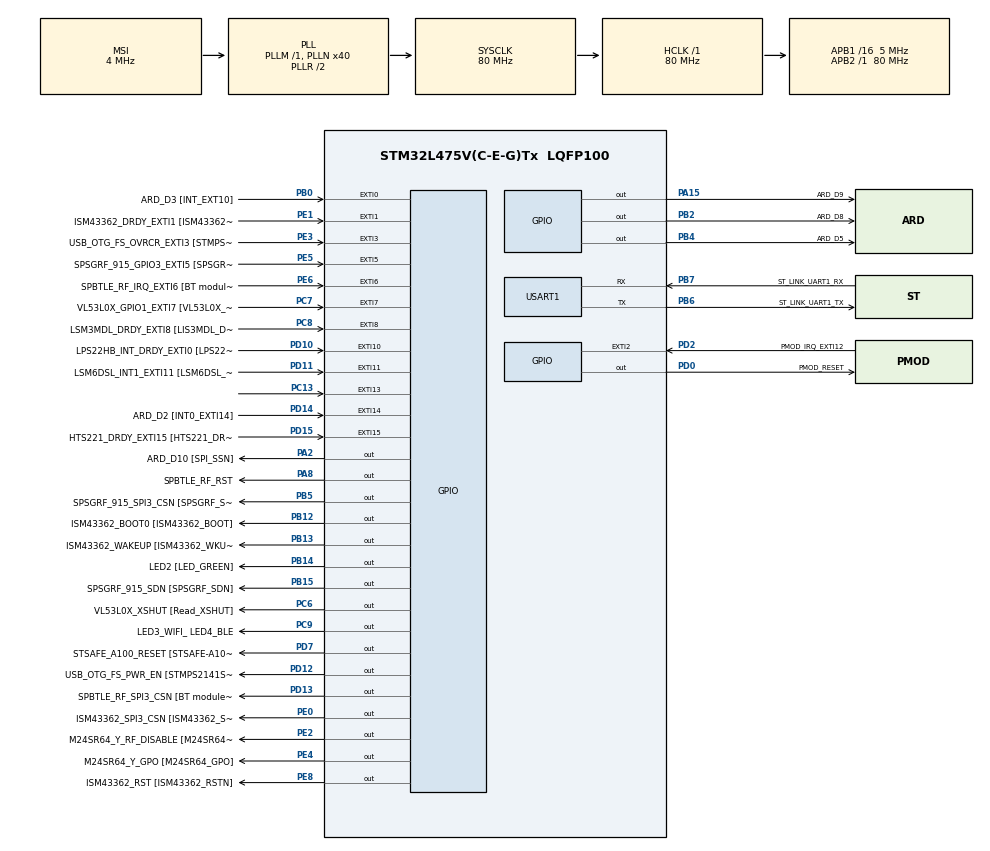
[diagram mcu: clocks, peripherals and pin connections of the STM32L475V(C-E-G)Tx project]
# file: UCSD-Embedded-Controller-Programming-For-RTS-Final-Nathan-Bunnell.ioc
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Mcu.Family=STM32L4
Mcu.Name=STM32L475V(C-E-G)Tx
Mcu.Package=LQFP100
NVIC.EXTI15_10_IRQn=true\:0\:0\:false\:false\:true\:true\:true
NVIC.EXTI9_5_IRQn=true\:0\:0\:false\:false\:true\:true\:true
NVIC.PriorityGroup=NVIC_PRIORITYGROUP_4
NVIC.TIM2_IRQn=true\:0\:0\:false\:false\:true\:true\:true
NVIC.TIM3_IRQn=true\:0\:0\:false\:false\:true\:true\:true
NVIC.USART1_IRQn=true\:0\:0\:false\:false\:true\:true\:true
PA0.GPIO_Label=ARD_D1 [UART4_TX]
PA0.Signal=UART4_TX
PA1.GPIO_Label=ARD_D0 [UART4_RX]
PA1.Signal=UART4_RX
PA10.GPIO_Label=USB_OTG_FS_ID
PA10.Signal=USB_OTG_FS_ID
PA11.GPIO_Label=USB_OTG_FS_DM
PA11.Signal=USB_OTG_FS_DM
PA12.GPIO_Label=USB_OTG_FS_DP
PA12.Signal=USB_OTG_FS_DP
PA13\ (JTMS-SWDIO).GPIO_Label=SYS_JTMS_SWDIO
PA13\ (JTMS-SWDIO).Mode=Serial_Wire
PA13\ (JTMS-SWDIO).Signal=SYS_JTMS-SWDIO
PA14\ (JTCK-SWCLK).GPIO_Label=SYS_JTCK_SWCLK
PA14\ (JTCK-SWCLK).Mode=Serial_Wire
PA14\ (JTCK-SWCLK).Signal=SYS_JTCK-SWCLK
PA15\ (JTDI).GPIO_Label=ARD_D9
PA15\ (JTDI).Signal=GPIO_Output
PA2.GPIO_Label=ARD_D10 [SPI_SSN]
PA2.Signal=GPIO_Output
PA3.GPIO_Label=ARD_D4
PA3.Signal=S_TIM2_CH4
PA4.GPIO_Label=ARD_D7
PA4.Signal=ADCx_IN9
PA5.GPIO_Label=ARD_D13 [SPI1_SCK]
PA5.Signal=SPI1_SCK
PA6.GPIO_Label=ARD_D12 [SPI1_MISO]
PA6.Signal=SPI1_MISO
PA7.GPIO_Label=ARD_D11 [SPI1_MOSI]
PA7.Signal=SPI1_MOSI
PA8.GPIO_Label=SPBTLE_RF_RST
PA8.Signal=GPIO_Output
PA9.GPIO_Label=USB_OTG_FS_VBUS [STMPS2141STR_OUT]
PA9.Signal=USB_OTG_FS_VBUS
PB0.GPIO_Label=ARD_D3 [INT_EXT10]
PB0.Signal=GPXTI0
PB1.GPIO_Label=ARD_D6 [ADC1_IN6]
PB1.Signal=ADCx_IN16
PB10.GPIO_Label=INTERNAL_I2C2_SCL [VL53L0X_SCL]
PB10.GPIO_Pu=GPIO_PULLUP
PB10.Signal=I2C2_SCL
PB11.GPIO_Label=INTERNAL_I2C2_SDA [VL53L0X_SDA]
PB11.GPIO_Pu=GPIO_PULLUP
PB11.Signal=I2C2_SDA
PB12.GPIO_Label=ISM43362_BOOT0 [ISM43362_BOOT]
PB12.Signal=GPIO_Output
PB13.GPIO_Label=ISM43362_WAKEUP [ISM43362_WKUP]
PB13.Signal=GPIO_Output
PB14.GPIO_Label=LED2 [LED_GREEN]
PB14.Signal=GPIO_Output
PB15.GPIO_Label=SPSGRF_915_SDN [SPSGRF_SDN]
PB15.Signal=GPIO_Output
PB2.GPIO_Label=ARD_D8
PB2.Signal=GPIO_Output
PB3\ (JTDO-TRACESWO).GPIO_Label=SYS_JTD0_SWO
PB3\ (JTDO-TRACESWO).Signal=SYS_JTDO-SWO
PB4\ (NJTRST).GPIO_Label=ARD_D5
PB4\ (NJTRST).Signal=GPIO_Output
PB5.GPIO_Label=SPSGRF_915_SPI3_CSN [SPSGRF_SPI_CS]
PB5.PinState=GPIO_PIN_SET
PB5.Signal=GPIO_Output
PB6.GPIO_Label=ST_LINK_UART1_TX
PB6.Mode=Asynchronous
PB6.Signal=USART1_TX
PB7.GPIO_Label=ST_LINK_UART1_RX
PB7.Mode=Asynchronous
PB7.Signal=USART1_RX
PB8.GPIO_Label=ARD_D15 [I2C1_SCL]
PB8.Signal=I2C1_SCL
PB9.GPIO_Label=ARD_D14 [I2C1_SDA]
PB9.Signal=I2C1_SDA
PC0.GPIO_Label=ARD_A5 [ADC]
PC0.Signal=ADCx_IN1
PC1.GPIO_Label=ARD_A4 [ADC]
PC1.Signal=ADCx_IN2
PC10.GPIO_Label=INTERNAL_SPI3_SCK [BT module_SPI_SCLK] [ISM43362_SCK]
PC10.Signal=SPI3_SCK
PC11.GPIO_Label=INTERNAL_SPI3_MISO [BT module_SPI_MISO] [ISM43362_MISO]
PC11.Signal=SPI3_MISO
PC12.GPIO_Label=INTERNAL_SPI3_MOSI [BT module_SPI_MOSI] [ISM43362_MOSI]
PC12.Signal=SPI3_MOSI
PC13.Signal=GPXTI13
PC14-OSC32_IN\ (PC14).Mode=LSE-External-Oscillator
PC14-OSC32_IN\ (PC14).Signal=RCC_OSC32_IN
PC15-OSC32_OUT\ (PC15).Mode=LSE-External-Oscillator
PC15-OSC32_OUT\ (PC15).Signal=RCC_OSC32_OUT
PC2.GPIO_Label=ARD_A3 [ADC]
PC2.Signal=ADCx_IN3
PC3.GPIO_Label=ARD_A2 [ADC]
PC3.Signal=ADCx_IN4
PC4.GPIO_Label=ARD_A1 [ADC]
PC4.Signal=ADCx_IN13
PC5.GPIO_Label=ARD_A0 [ADC]
PC5.Signal=ADCx_IN14
PC6.GPIO_Label=VL53L0X_XSHUT [Read_XSHUT]
PC6.Signal=GPIO_Output
PC7.GPIO_Label=VL53L0X_GPIO1_EXTI7 [VL53L0X_GPIO1]
PC7.Signal=GPXTI7
PC8.GPIO_Label=LSM3MDL_DRDY_EXTI8 [LIS3MDL_DRDY]
PC8.Signal=GPXTI8
PC9.GPIO_Label=LED3_WIFI_ LED4_BLE
PC9.Signal=GPIO_Output
PD0.GPIO_Label=PMOD_RESET
PD0.Signal=GPIO_Output
PD1.GPIO_Label=PMOD_SPI2_SCK
PD1.Signal=SPI2_SCK
PD10.GPIO_Label=LPS22HB_INT_DRDY_EXTI0 [LPS22HB_INT_DRDY] 
PD10.Signal=GPXTI10
PD11.GPIO_Label=LSM6DSL_INT1_EXTI11 [LSM6DSL_INT1]
PD11.Signal=GPXTI11
PD12.GPIO_Label=USB_OTG_FS_PWR_EN [STMPS2141STR_EN]
PD12.Signal=GPIO_Output
PD13.GPIO_Label=SPBTLE_RF_SPI3_CSN [BT module_SPI_CS]
PD13.PinState=GPIO_PIN_SET
PD13.Signal=GPIO_Output
PD14.GPIO_Label=ARD_D2 [INT0_EXTI14]
PD14.Signal=GPXTI14
PD15.GPIO_Label=HTS221_DRDY_EXTI15 [HTS221_DRDY]
PD15.Signal=GPXTI15
PD2.GPIO_Label=PMOD_IRQ_EXTI12
PD2.Signal=GPXTI2
PD3.GPIO_Label=PMOD_UART2_CTS
PD3.Signal=USART2_CTS
PD4.GPIO_Label=PMOD_UART2_RTS
PD4.Signal=USART2_RTS
PD5.GPIO_Label=PMOD_UART2_TX
PD5.Signal=USART2_TX
PD6.GPIO_Label=PMOD_UART2_RX
PD6.Signal=USART2_RX
PD7.GPIO_Label=STSAFE_A100_RESET [STSAFE-A100_RESET]
PD7.Signal=GPIO_Output
PD8.GPIO_Label=INTERNAL_UART3_TX [ISM43362_RX]
PD8.Signal=USART3_TX
PD9.GPIO_Label=INTERNAL_UART3_RX [ISM43362_TX]
PD9.Signal=USART3_RX
PE0.GPIO_Label=ISM43362_SPI3_CSN [ISM43362_SSN]
PE0.PinState=GPIO_PIN_SET
PE0.Signal=GPIO_Output
PE1.GPIO_Label=ISM43362_DRDY_EXTI1 [ISM43362_DATARDY]
PE1.Signal=GPXTI1
PE10.GPIO_Label=QUADSPI_CLK [MX25R6435F_SCLK]
PE10.Signal=QUADSPI_CLK
PE11.GPIO_Label=QUADSPI_NCS [MX25R6435F_SCLK]
PE11.Signal=QUADSPI_NCS
PE12.GPIO_Label=OQUADSPI_BK1_IO0 [MX25R6435F_IO0]
PE12.Signal=QUADSPI_BK1_IO0
PE13.GPIO_Label=QUADSPI_BK1_IO1 [MX25R6435F_IO1]
PE13.Signal=QUADSPI_BK1_IO1
PE14.GPIO_Label=QUAD_SPI_BK1_IO2 [MX25R6435F_IO2]
PE14.Signal=QUADSPI_BK1_IO2
PE15.GPIO_Label=QUAD_SPI_BK1_IO3 [MX25R6435F_IO3]
PE15.Signal=QUADSPI_BK1_IO3
PE2.GPIO_Label=M24SR64_Y_RF_DISABLE [M24SR64_RFDIS]
PE2.Signal=GPIO_Output
PE3.GPIO_Label=USB_OTG_FS_OVRCR_EXTI3 [STMPS2141STR_FAULT]
PE3.Signal=GPXTI3
PE4.GPIO_Label=M24SR64_Y_GPO [M24SR64_GPO]
PE4.Signal=GPIO_Output
PE5.GPIO_Label=SPSGRF_915_GPIO3_EXTI5 [SPSGRF_GPIO_3]
PE5.Signal=GPXTI5
PE6.GPIO_Label=SPBTLE_RF_IRQ_EXTI6 [BT module_SPI_IRQ]
PE6.Signal=GPXTI6
PE7.GPIO_Label=DFSDM1_DATIN2 [MP34DT01_DOUT]
PE7.Signal=S_DATAIN2DFSDM1
PE8.GPIO_Label=ISM43362_RST [ISM43362_RSTN]
PE8.Signal=GPIO_Output
PE9.GPIO_Label=DFSDM1_CKOUT [MP34DT01_CLK]
PE9.Signal=S_CKOUTDFSDM1
PH0-OSC_IN\ (PH0).Mode=HSE-External-Oscillator
PH0-OSC_IN\ (PH0).Signal=RCC_OSC_IN
PH1-OSC_OUT\ (PH1).Mode=HSE-External-Oscillator
PH1-OSC_OUT\ (PH1).Signal=RCC_OSC_OUT
ProjectManager.HeapSize=0x200
ProjectManager.StackSize=0x400
ProjectManager.TargetToolchain=STM32CubeIDE
RCC.ADCFreq_Value=48000000
RCC.AHBFreq_Value=80000000
RCC.APB1CLKDivider=RCC_HCLK_DIV16
RCC.APB1Freq_Value=5000000
RCC.APB1TimFreq_Value=10000000
RCC.APB2Freq_Value=80000000
RCC.APB2TimFreq_Value=80000000
RCC.CortexFreq_Value=80000000
RCC.HCLKFreq_Value=80000000
RCC.HSE_VALUE=8000000
RCC.HSI_VALUE=16000000
RCC.MSI_VALUE=4000000
RCC.PLLN=40
RCC.PLLSAI1N=24
RCC.SYSCLKFreq_VALUE=80000000
RCC.SYSCLKSource=RCC_SYSCLKSOURCE_PLLCLK
RCC.USBFreq_Value=48000000
RCC.VCOOutputFreq_Value=160000000
RTC.Alarm-Alarm\ A=RTC_ALARM_A
SH.ADCx_IN1.0=ADC1_IN1
SH.ADCx_IN13.0=ADC1_IN13
SH.ADCx_IN14.0=ADC1_IN14
SH.ADCx_IN16.0=ADC1_IN16
SH.ADCx_IN2.0=ADC1_IN2
SH.ADCx_IN3.0=ADC1_IN3
SH.ADCx_IN4.0=ADC1_IN4
SH.ADCx_IN9.0=ADC1_IN9
SH.S_CKOUTDFSDM1.0=DFSDM1_CKOUT
SH.S_DATAIN2DFSDM1.0=DFSDM1_DATIN2
SH.S_TIM2_CH4.0=TIM2_CH4
TIM3.Period=999
TIM3.Prescaler=9999
USART1.VirtualMode-Asynchronous=VM_ASYNC
VP_IWDG_VS_IWDG.Mode=IWDG_Activate
VP_RTC_VS_RTC_Activate.Mode=RTC_Enabled
VP_RTC_VS_RTC_Alarm_A_Intern.Mode=Alarm A
VP_RTC_VS_RTC_Calendar.Mode=RTC_Calendar
VP_TIM2_VS_ClockSourceINT.Mode=Internal
VP_TIM3_VS_ClockSourceINT.Mode=Internal
board=B-L475E-IOT01A1

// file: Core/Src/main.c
/* USER CODE BEGIN Header */
/**
  ******************************************************************************
  * @file           : main.c
  * @brief          : Main program body
  ******************************************************************************
  * @attention
  *
  * <h2><center>&copy; Copyright (c) 2021 STMicroelectronics.
  * All rights reserved.</center></h2>
  *
  * This software component is licensed by ST under BSD 3-Clause license,
  * the "License"; You may not use this file except in compliance with the
  * License. You may obtain a copy of the License at:
  *                        opensource.org/licenses/BSD-3-Clause
  *
  ******************************************************************************
  */
/* USER CODE END Header */
#include "main.h"

/* USER CODE BEGIN Includes */
#include <stdio.h>
#include <string.h>
#include <stdbool.h>

/* USER CODE END Includes */

IWDG_HandleTypeDef hiwdg;

RTC_HandleTypeDef hrtc;

TIM_HandleTypeDef htim2;
TIM_HandleTypeDef htim3;

UART_HandleTypeDef huart1;

void SystemClock_Config(void);
static void MX_GPIO_Init(void);
static void MX_USART1_UART_Init(void);
static void MX_TIM2_Init(void);
static void MX_TIM3_Init(void);
static void MX_RTC_Init(void);
static void MX_IWDG_Init(void);
/* USER CODE BEGIN PFP */

void logMsg(UART_HandleTypeDef *huart, char *_out);
char logGetMsg(UART_HandleTypeDef *huart);

void FMC_IRQn_Init(void);
void FMC_IRQ_CpltCallback(void);

void myDelay1(uint32_t mSec);
void myDelay2(uint32_t mSec);

/* USER CODE END PFP */

/* USER CODE BEGIN 0 */

// Define a pair of interrupt-complete status flags
static bool txInterruptComplete = 0;
static bool rxInterruptComplete = 0;

// Define a software interrupt-complete status flag
static bool swInterruptComplete = 0;

// Define a interrupt-complete status flag and accrual counter for Timer 3
static bool tim3InterruptComplete = 0;
uint8_t tim3Accrual = 0;

// Define variable to store time from RTC
RTC_TimeTypeDef rtcTime;
RTC_DateTypeDef rtcDate;

// Define the IT callback functions
void HAL_UART_TxCpltCallback(UART_HandleTypeDef *huart)
{
	// Set our complete flag
	txInterruptComplete = 1;
}

void HAL_UART_RxCpltCallback(UART_HandleTypeDef *huart)
{
	// Set our complete flag
	rxInterruptComplete = 1;
}

// logMsg function prints a string, _out, to the console over the specified UART
void logMsg(UART_HandleTypeDef *huart, char *_out)
{
	// Clear the complete flag
	txInterruptComplete = 0;

	char buffer[100] = {0};		// Large char buffer for string printing
    snprintf(buffer, sizeof(buffer), "%s\n", _out);
    HAL_UART_Transmit_IT(&huart1, (uint8_t*) buffer, strlen(buffer));

    // Loiter until the IT complete flag is set
	while (!txInterruptComplete)
	{
		;
	}

	//HAL_IWDG_Refresh(&hiwdg);
}

// logMsg function returns a char, c, over the specified UART
char logGetMsg(UART_HandleTypeDef *huart)
{
	// Clear the complete flag
	rxInterruptComplete = 0;

  char c = '\0';				// Set default return value to NULL
  HAL_UART_Receive_IT(&huart1, (uint8_t*) &c, sizeof(c));

  // Loiter until the IT complete flag is set
	while (!rxInterruptComplete)
	{
		;
	}

	return c;
}

// Added a dedicated init function here as MX_GPIO_Init() would
//  overwrite any added code after device cfg changes
void FMC_IRQn_Init(void)
{
	// Enable FMC interrupt
	uint32_t IRQn = FMC_IRQn;
	uint32_t wordOffset = (IRQn >> 5);			// IRQn / 32
	uint32_t bitOffset = (IRQn & 0x1f);			// IRQn mod 32
	NVIC->ISER[wordOffset] = (1 << bitOffset);	// Enable INT
}

// Callback function for the FMC interrupt
//  Toggle an LED to give indication of int and
//  set flag to be used in main routine
void FMC_IRQ_CpltCallback(void)
{
	HAL_GPIO_TogglePin(LED2_GPIO_Port, LED2_Pin);
	swInterruptComplete = 1;
}

// NOTE: APB1 Timer clocks prescaled down to 10MHz in Clock Config tool
void myDelay1(uint32_t mSec)
{
	if (mSec == 0)	// Dummy check that we have a real value
		return;

	TIM2->CR1 &= ~TIM_CR1_CEN;	// Disable for config
	TIM2->SR = 0;				// Clear status reg
	TIM2->CNT = 0;				// Clear accrual
	TIM2->PSC = 9999;			// PSC = (10MHz / 1KHz) - 1
	TIM2->ARR = mSec - 1;		// Delay - 1
	TIM2->CR1 |= TIM_CR1_CEN;	// Re-enable timer

	while ((TIM2->SR & TIM_SR_UIF) == 0);	// Loop until the UIF flag is set in the SR
}

// Simple loop implementation to delay for a give number of mSec
void myDelay2(uint32_t mSec)
{
	SysTick->LOAD = 80000;	// LOAD * (1/80MHz) = target of 1 mSec
	SysTick->VAL = 0;		// Clear value
	SysTick->CTRL |= SysTick_CTRL_TICKINT_Msk;	// Set clock source to internal
	SysTick->CTRL |= SysTick_CTRL_ENABLE_Msk; // Enable SysTick

	while (mSec > 0)
	{
		while((SysTick->CTRL & SysTick_CTRL_COUNTFLAG_Msk) == 0)
			{
				;	// Loiter while the CountFlag in bit 16 is not set
			}
		mSec--;
	}
}

void HAL_TIM_PeriodElapsedCallback(TIM_HandleTypeDef *htim)
{
	if (htim->Instance == TIM3)
	{
		tim3Accrual++;
		tim3InterruptComplete = 1;
	}
}

void HAL_RTC_AlarmAEventCallback(RTC_HandleTypeDef *hrtc)
{
	if (hrtc->Instance == RTC)
		logMsg(&huart1, "RTC alarm A detected");
}

/* USER CODE END 0 */

int main(void)
{

  /* MCU Configuration--------------------------------------------------------*/

  /* Reset of all peripherals, Initializes the Flash interface and the Systick. */
  HAL_Init();

  /* Configure the system clock */
  SystemClock_Config();

  /* Initialize all configured peripherals */
  MX_GPIO_Init();
  MX_USART1_UART_Init();
  MX_TIM2_Init();
  MX_TIM3_Init();
  MX_RTC_Init();
  MX_IWDG_Init();
  /* USER CODE BEGIN 2 */

  // Init SW interrupt
  FMC_IRQn_Init();

  // Init the overflow interrupt for TIM3
  HAL_TIM_Base_Start_IT(&htim3);

  // Get time
  HAL_RTC_GetTime(&hrtc, &rtcTime, RTC_FORMAT_BIN);
  HAL_RTC_GetDate(&hrtc, &rtcDate, RTC_FORMAT_BIN);

  HAL_IWDG_Refresh(&hiwdg);

  // Header info with instructions for user at console
  logMsg(&huart1, "Welcome to Embedded controller programming");
  logMsg(&huart1, " - Enter g for toggling Green LED");
  logMsg(&huart1, " - Enter b for toggling Blue LED");
  logMsg(&huart1, " - Enter s to generate SW interrupt");
  logMsg(&huart1, " - Enter t to start timer 3");
  logMsg(&huart1, " - Enter w to trigger watchdog reset");

  /* USER CODE END 2 */

  /* Infinite loop */
  while (1)
  {

    /* USER CODE BEGIN 3 */

    // Define an input char with default value of NULL
    char input = '\0';
    input = logGetMsg(&huart1);

    // Evaluate input char and execute methods associated with command
    switch(input)
    {

        case ('g'):
        {
			// Print received char, print message indicating delay, toggle green LED on and off with myDelay2()
            logMsg(&huart1, "g");

            char buffer[50] = {0};				// Output buffer
			snprintf(buffer, sizeof(buffer), "Toggling green LED 3x on every 1000ms");
			logMsg(&huart1, buffer);

            HAL_GPIO_TogglePin(LED2_GPIO_Port, LED2_Pin);
			myDelay2(1000);
			HAL_GPIO_TogglePin(LED2_GPIO_Port, LED2_Pin);
			myDelay2(1000);
			HAL_GPIO_TogglePin(LED2_GPIO_Port, LED2_Pin);

            break;
        }

        case ('b'):
        {
			// Print received char, print message indicating delay, toggle blue LED on and off with myDelay1()
            logMsg(&huart1, "b");

            char buffer[50] = {0};		// Output buffer
			snprintf(buffer, sizeof(buffer), "Toggling blue LED 3x on every 1000ms");
			logMsg(&huart1, buffer);

            HAL_GPIO_TogglePin(LED3_WIFI__LED4_BLE_GPIO_Port, LED3_WIFI__LED4_BLE_Pin);
			myDelay1(1000);
			HAL_GPIO_TogglePin(LED3_WIFI__LED4_BLE_GPIO_Port, LED3_WIFI__LED4_BLE_Pin);
			myDelay1(1000);
			HAL_GPIO_TogglePin(LED3_WIFI__LED4_BLE_GPIO_Port, LED3_WIFI__LED4_BLE_Pin);

            break;
        }

        case ('s'):
        {
            logMsg(&huart1, "s");

            // Trigger SW interrupt at target IRQ, FMC or 48
            NVIC->STIR = FMC_IRQn;

            // Implement callback under FMC_IRQ_CpltCallback()
			while (!swInterruptComplete)
			{
				;	// Loiter until flag is set
			}

			swInterruptComplete = 0;	// Reset flag

			char buffer[50] = {0};		// Output buffer
            snprintf(buffer, sizeof(buffer), "SW Interrupt detected");
			logMsg(&huart1, buffer);

            break;
        }

        case ('t'):
        {
            logMsg(&huart1, "t");

            // Implement event counter using timer 3
            tim3Accrual = 0;	// Reset accrual

            while (tim3Accrual < 10)
            {
            	tim3InterruptComplete = 0;

            	while (!tim3InterruptComplete)
				{
					;	// Loiter until target count is reached
				}
            }

            char buffer[50] = {0};		// Output buffer
            snprintf(buffer, sizeof(buffer), "Total counted timer3 events: %d", tim3Accrual);
            logMsg(&huart1, buffer);
            break;
        }

        case ('w'):
        {
            logMsg(&huart1, "w");

            // Implement code to delay 1 second and miss the watchdog pet. Should reset board
            myDelay2(1000);

            break;
        }

        // Default case. Print error message
        default:
        {
            logMsg(&huart1, "Unknown character received!\n");

            //char buffer[100] = {0};		// Large char buffer for string printing
			//snprintf(buffer, sizeof(buffer), "Current time is: %02d:%02d:%02d", rtcTime.Hours, rtcTime.Minutes, rtcTime.Seconds);
			//logMsg(&huart1, buffer);

			break;
        }
    }
  }

  /* USER CODE END 3 */
}

void SystemClock_Config(void)
{
  RCC_OscInitTypeDef RCC_OscInitStruct = {0};
  RCC_ClkInitTypeDef RCC_ClkInitStruct = {0};

  /** Configure the main internal regulator output voltage
  */
  if (HAL_PWREx_ControlVoltageScaling(PWR_REGULATOR_VOLTAGE_SCALE1) != HAL_OK)
  {
    Error_Handler();
  }
  /** Configure LSE Drive Capability
  */
  HAL_PWR_EnableBkUpAccess();
  __HAL_RCC_LSEDRIVE_CONFIG(RCC_LSEDRIVE_LOW);
  /** Initializes the RCC Oscillators according to the specified parameters
  * in the RCC_OscInitTypeDef structure.
  */
  RCC_OscInitStruct.OscillatorType = RCC_OSCILLATORTYPE_LSI|RCC_OSCILLATORTYPE_LSE
                              |RCC_OSCILLATORTYPE_MSI;
  RCC_OscInitStruct.LSEState = RCC_LSE_ON;
  RCC_OscInitStruct.LSIState = RCC_LSI_ON;
  RCC_OscInitStruct.MSIState = RCC_MSI_ON;
  RCC_OscInitStruct.MSICalibrationValue = 0;
  RCC_OscInitStruct.MSIClockRange = RCC_MSIRANGE_6;
  RCC_OscInitStruct.PLL.PLLState = RCC_PLL_ON;
  RCC_OscInitStruct.PLL.PLLSource = RCC_PLLSOURCE_MSI;
  RCC_OscInitStruct.PLL.PLLM = 1;
  RCC_OscInitStruct.PLL.PLLN = 40;
  RCC_OscInitStruct.PLL.PLLP = RCC_PLLP_DIV7;
  RCC_OscInitStruct.PLL.PLLQ = RCC_PLLQ_DIV2;
  RCC_OscInitStruct.PLL.PLLR = RCC_PLLR_DIV2;
  if (HAL_RCC_OscConfig(&RCC_OscInitStruct) != HAL_OK)
  {
    Error_Handler();
  }
  /** Initializes the CPU, AHB and APB buses clocks
  */
  RCC_ClkInitStruct.ClockType = RCC_CLOCKTYPE_HCLK|RCC_CLOCKTYPE_SYSCLK
                              |RCC_CLOCKTYPE_PCLK1|RCC_CLOCKTYPE_PCLK2;
  RCC_ClkInitStruct.SYSCLKSource = RCC_SYSCLKSOURCE_PLLCLK;
  RCC_ClkInitStruct.AHBCLKDivider = RCC_SYSCLK_DIV1;
  RCC_ClkInitStruct.APB1CLKDivider = RCC_HCLK_DIV16;
  RCC_ClkInitStruct.APB2CLKDivider = RCC_HCLK_DIV1;

  if (HAL_RCC_ClockConfig(&RCC_ClkInitStruct, FLASH_LATENCY_4) != HAL_OK)
  {
    Error_Handler();
  }
  /** Enable MSI Auto calibration
  */
  HAL_RCCEx_EnableMSIPLLMode();
}

static void MX_IWDG_Init(void)
{

  hiwdg.Instance = IWDG;
  hiwdg.Init.Prescaler = IWDG_PRESCALER_8;
  hiwdg.Init.Window = 3999;
  hiwdg.Init.Reload = 3999;
  if (HAL_IWDG_Init(&hiwdg) != HAL_OK)
  {
    Error_Handler();
  }

}

static void MX_RTC_Init(void)
{

  RTC_TimeTypeDef sTime = {0};
  RTC_DateTypeDef sDate = {0};
  RTC_AlarmTypeDef sAlarm = {0};

  /** Initialize RTC Only
  */
  hrtc.Instance = RTC;
  hrtc.Init.HourFormat = RTC_HOURFORMAT_12;
  hrtc.Init.AsynchPrediv = 127;
  hrtc.Init.SynchPrediv = 255;
  hrtc.Init.OutPut = RTC_OUTPUT_DISABLE;
  hrtc.Init.OutPutRemap = RTC_OUTPUT_REMAP_NONE;
  hrtc.Init.OutPutPolarity = RTC_OUTPUT_POLARITY_HIGH;
  hrtc.Init.OutPutType = RTC_OUTPUT_TYPE_OPENDRAIN;
  if (HAL_RTC_Init(&hrtc) != HAL_OK)
  {
    Error_Handler();
  }

  /** Initialize RTC and set the Time and Date
  */
  sTime.Hours = 0x07;
  sTime.Minutes = 0x30;
  sTime.Seconds = 0x0;
  sTime.DayLightSaving = RTC_DAYLIGHTSAVING_NONE;
  sTime.StoreOperation = RTC_STOREOPERATION_RESET;
  if (HAL_RTC_SetTime(&hrtc, &sTime, RTC_FORMAT_BCD) != HAL_OK)
  {
	Error_Handler();
  }
  sDate.WeekDay = RTC_WEEKDAY_SATURDAY;
  sDate.Month = RTC_MONTH_AUGUST;
  sDate.Date = 0x28;
  sDate.Year = 0x21;

  if (HAL_RTC_SetDate(&hrtc, &sDate, RTC_FORMAT_BCD) != HAL_OK)
  {
	Error_Handler();
  }
  /** Enable the Alarm A
  */
  sAlarm.AlarmTime.Hours = 0x07;
  sAlarm.AlarmTime.Minutes = 0x30;
  sAlarm.AlarmTime.Seconds = 0x10;
  sAlarm.AlarmTime.SubSeconds = 0x0;
  sAlarm.AlarmTime.DayLightSaving = RTC_DAYLIGHTSAVING_NONE;
  sAlarm.AlarmTime.StoreOperation = RTC_STOREOPERATION_RESET;
  //sAlarm.AlarmMask = RTC_ALARMMASK_SECONDS;
  //sAlarm.AlarmMask |= (RTC_ALARMMASK_DATEWEEKDAY | RTC_ALARMMASK_HOURS | RTC_ALARMMASK_MINUTES);
  //sAlarm.AlarmMask &= ~RTC_ALARMMASK_SECONDS;
  sAlarm.AlarmMask &= ~0x01ffffff;
  sAlarm.AlarmSubSecondMask = RTC_ALARMSUBSECONDMASK_ALL;
  sAlarm.AlarmDateWeekDaySel = RTC_ALARMDATEWEEKDAYSEL_DATE;
  sAlarm.AlarmDateWeekDay = 0x0;
  sAlarm.Alarm = RTC_ALARM_A;
  if (HAL_RTC_SetAlarm(&hrtc, &sAlarm, RTC_FORMAT_BCD) != HAL_OK)
  {
    Error_Handler();
  }

}

static void MX_TIM2_Init(void)
{

  TIM_ClockConfigTypeDef sClockSourceConfig = {0};
  TIM_MasterConfigTypeDef sMasterConfig = {0};

  htim2.Instance = TIM2;
  htim2.Init.Prescaler = 0;
  htim2.Init.CounterMode = TIM_COUNTERMODE_UP;
  htim2.Init.Period = 4294967295;
  htim2.Init.ClockDivision = TIM_CLOCKDIVISION_DIV1;
  htim2.Init.AutoReloadPreload = TIM_AUTORELOAD_PRELOAD_DISABLE;
  if (HAL_TIM_Base_Init(&htim2) != HAL_OK)
  {
    Error_Handler();
  }
  sClockSourceConfig.ClockSource = TIM_CLOCKSOURCE_INTERNAL;
  if (HAL_TIM_ConfigClockSource(&htim2, &sClockSourceConfig) != HAL_OK)
  {
    Error_Handler();
  }
  sMasterConfig.MasterOutputTrigger = TIM_TRGO_RESET;
  sMasterConfig.MasterSlaveMode = TIM_MASTERSLAVEMODE_DISABLE;
  if (HAL_TIMEx_MasterConfigSynchronization(&htim2, &sMasterConfig) != HAL_OK)
  {
    Error_Handler();
  }

}

static void MX_TIM3_Init(void)
{

  TIM_ClockConfigTypeDef sClockSourceConfig = {0};
  TIM_MasterConfigTypeDef sMasterConfig = {0};

  htim3.Instance = TIM3;
  htim3.Init.Prescaler = 9999;
  htim3.Init.CounterMode = TIM_COUNTERMODE_UP;
  htim3.Init.Period = 999;
  htim3.Init.ClockDivision = TIM_CLOCKDIVISION_DIV1;
  htim3.Init.AutoReloadPreload = TIM_AUTORELOAD_PRELOAD_DISABLE;
  if (HAL_TIM_Base_Init(&htim3) != HAL_OK)
  {
    Error_Handler();
  }
  sClockSourceConfig.ClockSource = TIM_CLOCKSOURCE_INTERNAL;
  if (HAL_TIM_ConfigClockSource(&htim3, &sClockSourceConfig) != HAL_OK)
  {
    Error_Handler();
  }
  sMasterConfig.MasterOutputTrigger = TIM_TRGO_RESET;
  sMasterConfig.MasterSlaveMode = TIM_MASTERSLAVEMODE_DISABLE;
  if (HAL_TIMEx_MasterConfigSynchronization(&htim3, &sMasterConfig) != HAL_OK)
  {
    Error_Handler();
  }

}

static void MX_USART1_UART_Init(void)
{

  huart1.Instance = USART1;
  huart1.Init.BaudRate = 115200;
  huart1.Init.WordLength = UART_WORDLENGTH_8B;
  huart1.Init.StopBits = UART_STOPBITS_1;
  huart1.Init.Parity = UART_PARITY_NONE;
  huart1.Init.Mode = UART_MODE_TX_RX;
  huart1.Init.HwFlowCtl = UART_HWCONTROL_NONE;
  huart1.Init.OverSampling = UART_OVERSAMPLING_16;
  huart1.Init.OneBitSampling = UART_ONE_BIT_SAMPLE_DISABLE;
  huart1.AdvancedInit.AdvFeatureInit = UART_ADVFEATURE_NO_INIT;
  if (HAL_UART_Init(&huart1) != HAL_OK)
  {
    Error_Handler();
  }

}

static void MX_GPIO_Init(void)
{
  GPIO_InitTypeDef GPIO_InitStruct = {0};

  /* GPIO Ports Clock Enable */
  __HAL_RCC_GPIOE_CLK_ENABLE();
  __HAL_RCC_GPIOC_CLK_ENABLE();
  __HAL_RCC_GPIOH_CLK_ENABLE();
  __HAL_RCC_GPIOA_CLK_ENABLE();
  __HAL_RCC_GPIOB_CLK_ENABLE();
  __HAL_RCC_GPIOD_CLK_ENABLE();

  /*Configure GPIO pin Output Level */
  HAL_GPIO_WritePin(GPIOE, M24SR64_Y_RF_DISABLE_Pin|M24SR64_Y_GPO_Pin|ISM43362_RST_Pin, GPIO_PIN_RESET);

  /*Configure GPIO pin Output Level */
  HAL_GPIO_WritePin(GPIOA, ARD_D10_Pin|SPBTLE_RF_RST_Pin|ARD_D9_Pin, GPIO_PIN_RESET);

  /*Configure GPIO pin Output Level */
  HAL_GPIO_WritePin(GPIOB, ARD_D8_Pin|ISM43362_BOOT0_Pin|ISM43362_WAKEUP_Pin|LED2_Pin
                          |SPSGRF_915_SDN_Pin|ARD_D5_Pin, GPIO_PIN_RESET);

  /*Configure GPIO pin Output Level */
  HAL_GPIO_WritePin(GPIOD, USB_OTG_FS_PWR_EN_Pin|PMOD_RESET_Pin|STSAFE_A100_RESET_Pin, GPIO_PIN_RESET);

  /*Configure GPIO pin Output Level */
  HAL_GPIO_WritePin(SPBTLE_RF_SPI3_CSN_GPIO_Port, SPBTLE_RF_SPI3_CSN_Pin, GPIO_PIN_SET);

  /*Configure GPIO pin Output Level */
  HAL_GPIO_WritePin(GPIOC, VL53L0X_XSHUT_Pin|LED3_WIFI__LED4_BLE_Pin, GPIO_PIN_RESET);

  /*Configure GPIO pin Output Level */
  HAL_GPIO_WritePin(SPSGRF_915_SPI3_CSN_GPIO_Port, SPSGRF_915_SPI3_CSN_Pin, GPIO_PIN_SET);

  /*Configure GPIO pin Output Level */
  HAL_GPIO_WritePin(ISM43362_SPI3_CSN_GPIO_Port, ISM43362_SPI3_CSN_Pin, GPIO_PIN_SET);

  /*Configure GPIO pins : M24SR64_Y_RF_DISABLE_Pin M24SR64_Y_GPO_Pin ISM43362_RST_Pin ISM43362_SPI3_CSN_Pin */
  GPIO_InitStruct.Pin = M24SR64_Y_RF_DISABLE_Pin|M24SR64_Y_GPO_Pin|ISM43362_RST_Pin|ISM43362_SPI3_CSN_Pin;
  GPIO_InitStruct.Mode = GPIO_MODE_OUTPUT_PP;
  GPIO_InitStruct.Pull = GPIO_NOPULL;
  GPIO_InitStruct.Speed = GPIO_SPEED_FREQ_LOW;
  HAL_GPIO_Init(GPIOE, &GPIO_InitStruct);

  /*Configure GPIO pins : USB_OTG_FS_OVRCR_EXTI3_Pin SPSGRF_915_GPIO3_EXTI5_Pin SPBTLE_RF_IRQ_EXTI6_Pin ISM43362_DRDY_EXTI1_Pin */
  GPIO_InitStruct.Pin = USB_OTG_FS_OVRCR_EXTI3_Pin|SPSGRF_915_GPIO3_EXTI5_Pin|SPBTLE_RF_IRQ_EXTI6_Pin|ISM43362_DRDY_EXTI1_Pin;
  GPIO_InitStruct.Mode = GPIO_MODE_IT_RISING;
  GPIO_InitStruct.Pull = GPIO_NOPULL;
  HAL_GPIO_Init(GPIOE, &GPIO_InitStruct);

  /*Configure GPIO pins : PC13 VL53L0X_GPIO1_EXTI7_Pin LSM3MDL_DRDY_EXTI8_Pin */
  GPIO_InitStruct.Pin = GPIO_PIN_13|VL53L0X_GPIO1_EXTI7_Pin|LSM3MDL_DRDY_EXTI8_Pin;
  GPIO_InitStruct.Mode = GPIO_MODE_IT_RISING;
  GPIO_InitStruct.Pull = GPIO_NOPULL;
  HAL_GPIO_Init(GPIOC, &GPIO_InitStruct);

  /*Configure GPIO pins : ARD_A5_Pin ARD_A4_Pin ARD_A3_Pin ARD_A2_Pin
                           ARD_A1_Pin ARD_A0_Pin */
  GPIO_InitStruct.Pin = ARD_A5_Pin|ARD_A4_Pin|ARD_A3_Pin|ARD_A2_Pin
                          |ARD_A1_Pin|ARD_A0_Pin;
  GPIO_InitStruct.Mode = GPIO_MODE_ANALOG_ADC_CONTROL;
  GPIO_InitStruct.Pull = GPIO_NOPULL;
  HAL_GPIO_Init(GPIOC, &GPIO_InitStruct);

  /*Configure GPIO pins : ARD_D1_Pin ARD_D0_Pin */
  GPIO_InitStruct.Pin = ARD_D1_Pin|ARD_D0_Pin;
  GPIO_InitStruct.Mode = GPIO_MODE_AF_PP;
  GPIO_InitStruct.Pull = GPIO_NOPULL;
  GPIO_InitStruct.Speed = GPIO_SPEED_FREQ_VERY_HIGH;
  GPIO_InitStruct.Alternate = GPIO_AF8_UART4;
  HAL_GPIO_Init(GPIOA, &GPIO_InitStruct);

  /*Configure GPIO pins : ARD_D10_Pin SPBTLE_RF_RST_Pin ARD_D9_Pin */
  GPIO_InitStruct.Pin = ARD_D10_Pin|SPBTLE_RF_RST_Pin|ARD_D9_Pin;
  GPIO_InitStruct.Mode = GPIO_MODE_OUTPUT_PP;
  GPIO_InitStruct.Pull = GPIO_NOPULL;
  GPIO_InitStruct.Speed = GPIO_SPEED_FREQ_LOW;
  HAL_GPIO_Init(GPIOA, &GPIO_InitStruct);

  /*Configure GPIO pin : ARD_D7_Pin */
  GPIO_InitStruct.Pin = ARD_D7_Pin;
  GPIO_InitStruct.Mode = GPIO_MODE_ANALOG_ADC_CONTROL;
  GPIO_InitStruct.Pull = GPIO_NOPULL;
  HAL_GPIO_Init(ARD_D7_GPIO_Port, &GPIO_InitStruct);

  /*Configure GPIO pins : ARD_D13_Pin ARD_D12_Pin ARD_D11_Pin */
  GPIO_InitStruct.Pin = ARD_D13_Pin|ARD_D12_Pin|ARD_D11_Pin;
  GPIO_InitStruct.Mode = GPIO_MODE_AF_PP;
  GPIO_InitStruct.Pull = GPIO_NOPULL;
  GPIO_InitStruct.Speed = GPIO_SPEED_FREQ_VERY_HIGH;
  GPIO_InitStruct.Alternate = GPIO_AF5_SPI1;
  HAL_GPIO_Init(GPIOA, &GPIO_InitStruct);

  /*Configure GPIO pin : ARD_D3_Pin */
  GPIO_InitStruct.Pin = ARD_D3_Pin;
  GPIO_InitStruct.Mode = GPIO_MODE_IT_RISING;
  GPIO_InitStruct.Pull = GPIO_NOPULL;
  HAL_GPIO_Init(ARD_D3_GPIO_Port, &GPIO_InitStruct);

  /*Configure GPIO pin : ARD_D6_Pin */
  GPIO_InitStruct.Pin = ARD_D6_Pin;
  GPIO_InitStruct.Mode = GPIO_MODE_ANALOG_ADC_CONTROL;
  GPIO_InitStruct.Pull = GPIO_NOPULL;
  HAL_GPIO_Init(ARD_D6_GPIO_Port, &GPIO_InitStruct);

  /*Configure GPIO pins : ARD_D8_Pin ISM43362_BOOT0_Pin ISM43362_WAKEUP_Pin LED2_Pin
                           SPSGRF_915_SDN_Pin ARD_D5_Pin SPSGRF_915_SPI3_CSN_Pin */
  GPIO_InitStruct.Pin = ARD_D8_Pin|ISM43362_BOOT0_Pin|ISM43362_WAKEUP_Pin|LED2_Pin
                          |SPSGRF_915_SDN_Pin|ARD_D5_Pin|SPSGRF_915_SPI3_CSN_Pin;
  GPIO_InitStruct.Mode = GPIO_MODE_OUTPUT_PP;
  GPIO_InitStruct.Pull = GPIO_NOPULL;
  GPIO_InitStruct.Speed = GPIO_SPEED_FREQ_LOW;
  HAL_GPIO_Init(GPIOB, &GPIO_InitStruct);

  /*Configure GPIO pins : DFSDM1_DATIN2_Pin DFSDM1_CKOUT_Pin */
  GPIO_InitStruct.Pin = DFSDM1_DATIN2_Pin|DFSDM1_CKOUT_Pin;
  GPIO_InitStruct.Mode = GPIO_MODE_AF_PP;
  GPIO_InitStruct.Pull = GPIO_NOPULL;
  GPIO_InitStruct.Speed = GPIO_SPEED_FREQ_LOW;
  GPIO_InitStruct.Alternate = GPIO_AF6_DFSDM1;
  HAL_GPIO_Init(GPIOE, &GPIO_InitStruct);

  /*Configure GPIO pins : QUADSPI_CLK_Pin QUADSPI_NCS_Pin OQUADSPI_BK1_IO0_Pin QUADSPI_BK1_IO1_Pin
                           QUAD_SPI_BK1_IO2_Pin QUAD_SPI_BK1_IO3_Pin */
  GPIO_InitStruct.Pin = QUADSPI_CLK_Pin|QUADSPI_NCS_Pin|OQUADSPI_BK1_IO0_Pin|QUADSPI_BK1_IO1_Pin
                          |QUAD_SPI_BK1_IO2_Pin|QUAD_SPI_BK1_IO3_Pin;
  GPIO_InitStruct.Mode = GPIO_MODE_AF_PP;
  GPIO_InitStruct.Pull = GPIO_NOPULL;
  GPIO_InitStruct.Speed = GPIO_SPEED_FREQ_VERY_HIGH;
  GPIO_InitStruct.Alternate = GPIO_AF10_QUADSPI;
  HAL_GPIO_Init(GPIOE, &GPIO_InitStruct);

  /*Configure GPIO pins : INTERNAL_I2C2_SCL_Pin INTERNAL_I2C2_SDA_Pin */
  GPIO_InitStruct.Pin = INTERNAL_I2C2_SCL_Pin|INTERNAL_I2C2_SDA_Pin;
  GPIO_InitStruct.Mode = GPIO_MODE_AF_OD;
  GPIO_InitStruct.Pull = GPIO_PULLUP;
  GPIO_InitStruct.Speed = GPIO_SPEED_FREQ_VERY_HIGH;
  GPIO_InitStruct.Alternate = GPIO_AF4_I2C2;
  HAL_GPIO_Init(GPIOB, &GPIO_InitStruct);

  /*Configure GPIO pins : INTERNAL_UART3_TX_Pin INTERNAL_UART3_RX_Pin */
  GPIO_InitStruct.Pin = INTERNAL_UART3_TX_Pin|INTERNAL_UART3_RX_Pin;
  GPIO_InitStruct.Mode = GPIO_MODE_AF_PP;
  GPIO_InitStruct.Pull = GPIO_NOPULL;
  GPIO_InitStruct.Speed = GPIO_SPEED_FREQ_VERY_HIGH;
  GPIO_InitStruct.Alternate = GPIO_AF7_USART3;
  HAL_GPIO_Init(GPIOD, &GPIO_InitStruct);

  /*Configure GPIO pins : LPS22HB_INT_DRDY_EXTI0_Pin LSM6DSL_INT1_EXTI11_Pin ARD_D2_Pin HTS221_DRDY_EXTI15_Pin
                           PMOD_IRQ_EXTI12_Pin */
  GPIO_InitStruct.Pin = LPS22HB_INT_DRDY_EXTI0_Pin|LSM6DSL_INT1_EXTI11_Pin|ARD_D2_Pin|HTS221_DRDY_EXTI15_Pin
                          |PMOD_IRQ_EXTI12_Pin;
  GPIO_InitStruct.Mode = GPIO_MODE_IT_RISING;
  GPIO_InitStruct.Pull = GPIO_NOPULL;
  HAL_GPIO_Init(GPIOD, &GPIO_InitStruct);

  /*Configure GPIO pins : USB_OTG_FS_PWR_EN_Pin SPBTLE_RF_SPI3_CSN_Pin PMOD_RESET_Pin STSAFE_A100_RESET_Pin */
  GPIO_InitStruct.Pin = USB_OTG_FS_PWR_EN_Pin|SPBTLE_RF_SPI3_CSN_Pin|PMOD_RESET_Pin|STSAFE_A100_RESET_Pin;
  GPIO_InitStruct.Mode = GPIO_MODE_OUTPUT_PP;
  GPIO_InitStruct.Pull = GPIO_NOPULL;
  GPIO_InitStruct.Speed = GPIO_SPEED_FREQ_LOW;
  HAL_GPIO_Init(GPIOD, &GPIO_InitStruct);

  /*Configure GPIO pins : VL53L0X_XSHUT_Pin LED3_WIFI__LED4_BLE_Pin */
  GPIO_InitStruct.Pin = VL53L0X_XSHUT_Pin|LED3_WIFI__LED4_BLE_Pin;
  GPIO_InitStruct.Mode = GPIO_MODE_OUTPUT_PP;
  GPIO_InitStruct.Pull = GPIO_NOPULL;
  GPIO_InitStruct.Speed = GPIO_SPEED_FREQ_LOW;
  HAL_GPIO_Init(GPIOC, &GPIO_InitStruct);

  /*Configure GPIO pin : USB_OTG_FS_VBUS_Pin */
  GPIO_InitStruct.Pin = USB_OTG_FS_VBUS_Pin;
  GPIO_InitStruct.Mode = GPIO_MODE_INPUT;
  GPIO_InitStruct.Pull = GPIO_NOPULL;
  HAL_GPIO_Init(USB_OTG_FS_VBUS_GPIO_Port, &GPIO_InitStruct);

  /*Configure GPIO pins : USB_OTG_FS_ID_Pin USB_OTG_FS_DM_Pin USB_OTG_FS_DP_Pin */
  GPIO_InitStruct.Pin = USB_OTG_FS_ID_Pin|USB_OTG_FS_DM_Pin|USB_OTG_FS_DP_Pin;
  GPIO_InitStruct.Mode = GPIO_MODE_AF_PP;
  GPIO_InitStruct.Pull = GPIO_NOPULL;
  GPIO_InitStruct.Speed = GPIO_SPEED_FREQ_VERY_HIGH;
  GPIO_InitStruct.Alternate = GPIO_AF10_OTG_FS;
  HAL_GPIO_Init(GPIOA, &GPIO_InitStruct);

  /*Configure GPIO pins : INTERNAL_SPI3_SCK_Pin INTERNAL_SPI3_MISO_Pin INTERNAL_SPI3_MOSI_Pin */
  GPIO_InitStruct.Pin = INTERNAL_SPI3_SCK_Pin|INTERNAL_SPI3_MISO_Pin|INTERNAL_SPI3_MOSI_Pin;
  GPIO_InitStruct.Mode = GPIO_MODE_AF_PP;
  GPIO_InitStruct.Pull = GPIO_NOPULL;
  GPIO_InitStruct.Speed = GPIO_SPEED_FREQ_VERY_HIGH;
  GPIO_InitStruct.Alternate = GPIO_AF6_SPI3;
  HAL_GPIO_Init(GPIOC, &GPIO_InitStruct);

  /*Configure GPIO pin : PMOD_SPI2_SCK_Pin */
  GPIO_InitStruct.Pin = PMOD_SPI2_SCK_Pin;
  GPIO_InitStruct.Mode = GPIO_MODE_AF_PP;
  GPIO_InitStruct.Pull = GPIO_NOPULL;
  GPIO_InitStruct.Speed = GPIO_SPEED_FREQ_VERY_HIGH;
  GPIO_InitStruct.Alternate = GPIO_AF5_SPI2;
  HAL_GPIO_Init(PMOD_SPI2_SCK_GPIO_Port, &GPIO_InitStruct);

  /*Configure GPIO pins : PMOD_UART2_CTS_Pin PMOD_UART2_RTS_Pin PMOD_UART2_TX_Pin PMOD_UART2_RX_Pin */
  GPIO_InitStruct.Pin = PMOD_UART2_CTS_Pin|PMOD_UART2_RTS_Pin|PMOD_UART2_TX_Pin|PMOD_UART2_RX_Pin;
  GPIO_InitStruct.Mode = GPIO_MODE_AF_PP;
  GPIO_InitStruct.Pull = GPIO_NOPULL;
  GPIO_InitStruct.Speed = GPIO_SPEED_FREQ_VERY_HIGH;
  GPIO_InitStruct.Alternate = GPIO_AF7_USART2;
  HAL_GPIO_Init(GPIOD, &GPIO_InitStruct);

  /*Configure GPIO pins : ARD_D15_Pin ARD_D14_Pin */
  GPIO_InitStruct.Pin = ARD_D15_Pin|ARD_D14_Pin;
  GPIO_InitStruct.Mode = GPIO_MODE_AF_OD;
  GPIO_InitStruct.Pull = GPIO_NOPULL;
  GPIO_InitStruct.Speed = GPIO_SPEED_FREQ_VERY_HIGH;
  GPIO_InitStruct.Alternate = GPIO_AF4_I2C1;
  HAL_GPIO_Init(GPIOB, &GPIO_InitStruct);

  /* EXTI interrupt init*/
  HAL_NVIC_SetPriority(EXTI9_5_IRQn, 0, 0);
  HAL_NVIC_EnableIRQ(EXTI9_5_IRQn);

  HAL_NVIC_SetPriority(EXTI15_10_IRQn, 0, 0);
  HAL_NVIC_EnableIRQ(EXTI15_10_IRQn);

}

void Error_Handler(void)
{
  __disable_irq();
  while (1)
  {
  }
}

/************************ (C) COPYRIGHT STMicroelectronics *****END OF FILE****/
